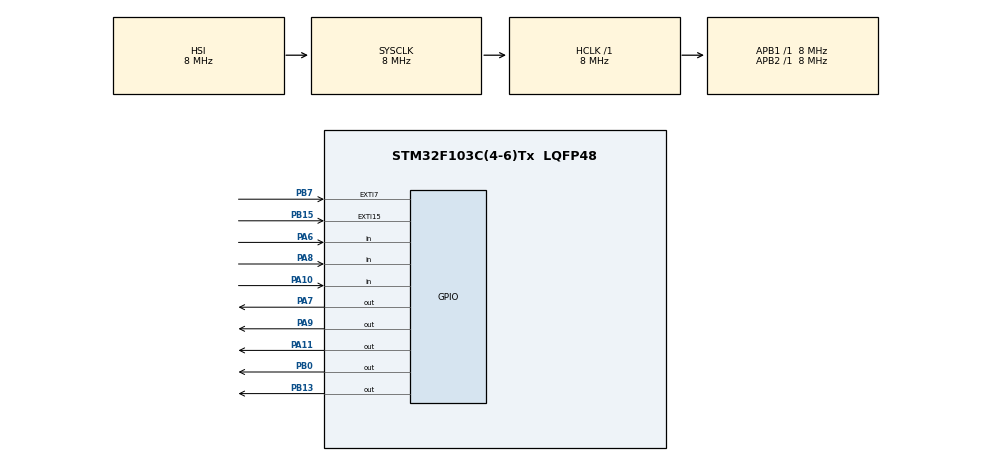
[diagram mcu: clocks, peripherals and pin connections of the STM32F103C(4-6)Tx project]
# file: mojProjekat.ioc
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Mcu.Family=STM32F1
Mcu.Name=STM32F103C(4-6)Tx
Mcu.Package=LQFP48
NVIC.PriorityGroup=NVIC_PRIORITYGROUP_4
NVIC.TIM2_IRQn=true\:0\:0\:false\:false\:true\:true\:true\:true
PA10.Signal=GPIO_Input
PA11.Signal=GPIO_Output
PA6.Signal=GPIO_Input
PA7.Signal=GPIO_Output
PA8.Signal=GPIO_Input
PA9.Signal=GPIO_Output
PB0.Signal=GPIO_Output
PB13.Signal=GPIO_Output
PB15.GPIO_ModeDefaultEXTI=GPIO_MODE_IT_FALLING
PB15.Signal=GPXTI15
PB7.Signal=GPXTI7
PD0-OSC_IN.Mode=HSE-External-Oscillator
PD0-OSC_IN.Signal=RCC_OSC_IN
PD1-OSC_OUT.Mode=HSE-External-Oscillator
PD1-OSC_OUT.Signal=RCC_OSC_OUT
ProjectManager.HeapSize=0x200
ProjectManager.StackSize=0x400
ProjectManager.TargetToolchain=STM32CubeIDE
RCC.AHBFreq_Value=8000000
RCC.APB1Freq_Value=8000000
RCC.APB1TimFreq_Value=8000000
RCC.APB2Freq_Value=8000000
RCC.APB2TimFreq_Value=8000000
RCC.HCLKFreq_Value=8000000
RCC.SYSCLKFreq_VALUE=8000000
RCC.USBFreq_Value=8000000
TIM2.Period=2500
TIM2.Prescaler=8000-1
VP_SYS_VS_ND.Mode=No_Debug
VP_TIM2_VS_ClockSourceINT.Mode=Internal
board=custom

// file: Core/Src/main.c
/* USER CODE BEGIN Header */
/**
  ******************************************************************************
  * @file           : main.c
  * @brief          : Main program body
  ******************************************************************************
  * @attention
  *
  * Copyright (c) 2024 STMicroelectronics.
  * All rights reserved.
  *
  * This software is licensed under terms that can be found in the LICENSE file
  * in the root directory of this software component.
  * If no LICENSE file comes with this software, it is provided AS-IS.
  *
  ******************************************************************************
  */
/* USER CODE END Header */
#include "main.h"
#include <string.h>
#include "stm32f1xx_hal.h"

/* USER CODE BEGIN PD */
#define LOGIC_CIRCUIT_PIN_1   GPIO_PIN_6
#define LOGIC_CIRCUIT_PORT_1  GPIOA

#define LOGIC_CIRCUIT_PIN_2   GPIO_PIN_8
#define LOGIC_CIRCUIT_PORT_2  GPIOA

#define LOGIC_CIRCUIT_PIN_3   GPIO_PIN_10
#define LOGIC_CIRCUIT_PORT_3  GPIOA

#define RED_LED_PIN_1         GPIO_PIN_7
#define RED_LED_PORT_1        GPIOA

#define YELLOW_LED_PIN        GPIO_PIN_9
#define YELLOW_LED_PORT       GPIOA

#define GREEN_LED_PIN         GPIO_PIN_11
#define GREEN_LED_PORT        GPIOA

#define MOTOR_PIN            GPIO_PIN_13
#define MOTOR_PORT           GPIOB

#define BUTTON_PIN            GPIO_PIN_7
#define BUTTON_PORT           GPIOB

/* USER CODE END PD */

/* USER CODE BEGIN PV */
uint8_t hardwareInterruptStatus = 0;
uint8_t logicCircuitsStatus = 0;
TIM_HandleTypeDef htim2;
uint8_t buttonPressedPB7 = 0;

void HAL_GPIO_EXTI_Callback(uint16_t GPIO_Pin)
{
  if (GPIO_Pin == GPIO_PIN_15)
  {
    hardwareInterruptStatus = 1;
  }
}

/* USER CODE END PV */

void SystemClock_Config(void);
static void MX_GPIO_Init(void);
static void MX_TIM2_Init(void);
void EXTI9_5_IRQHandler(void);

int main(void)
{

  /* MCU Configuration--------------------------------------------------------*/

  HAL_Init();

  /* Configure the system clock */
  SystemClock_Config();

  MX_GPIO_Init();
  MX_TIM2_Init();
  HAL_TIM_Base_Start_IT(&htim2);

  /* Infinite loop */
  while (1)
  {
	  if (buttonPressedPB7)
	     {

	        for (int i = 0; i < 3; ++i)
	        {
	        	for (int j = 0; j < 3; ++j)
	        	{
	        		HAL_Delay(25);

	        		HAL_GPIO_WritePin(RED_LED_PORT_1, RED_LED_PIN_1, GPIO_PIN_RESET);
	        		HAL_GPIO_WritePin(YELLOW_LED_PORT, YELLOW_LED_PIN, GPIO_PIN_RESET);
	        		HAL_GPIO_WritePin(GREEN_LED_PORT, GREEN_LED_PIN, GPIO_PIN_RESET);
	        		HAL_Delay(50);

	        		HAL_GPIO_WritePin(RED_LED_PORT_1, RED_LED_PIN_1, GPIO_PIN_SET);
	        		HAL_GPIO_WritePin(YELLOW_LED_PORT, YELLOW_LED_PIN, GPIO_PIN_SET);
	        		HAL_GPIO_WritePin(GREEN_LED_PORT, GREEN_LED_PIN, GPIO_PIN_SET);
	        		if (i < 2)
	        		{
	          	       HAL_Delay(25);
	          	    }

	        	}
	        	if (i < 2)
	        	{
	                HAL_Delay(200);
	            }
	        }
	       buttonPressedPB7 = 0;
	    }
	  if (hardwareInterruptStatus == 1)
	  {
	  	      HAL_GPIO_WritePin(RED_LED_PORT_1, RED_LED_PIN_1, GPIO_PIN_RESET);
	  	      HAL_GPIO_WritePin(YELLOW_LED_PORT, YELLOW_LED_PIN, GPIO_PIN_RESET);
	  	      HAL_GPIO_WritePin(GREEN_LED_PORT, GREEN_LED_PIN, GPIO_PIN_RESET);

	  	      HAL_Delay(600);

	  	      HAL_GPIO_WritePin(RED_LED_PORT_1, RED_LED_PIN_1, GPIO_PIN_SET);
	  	      HAL_GPIO_WritePin(YELLOW_LED_PORT, YELLOW_LED_PIN, GPIO_PIN_SET);
	  	      HAL_GPIO_WritePin(GREEN_LED_PORT, GREEN_LED_PIN, GPIO_PIN_SET);

	  	      hardwareInterruptStatus = 0;
	  }
	      if (HAL_GPIO_ReadPin(LOGIC_CIRCUIT_PORT_1, LOGIC_CIRCUIT_PIN_1) == GPIO_PIN_SET &&
	          HAL_GPIO_ReadPin(LOGIC_CIRCUIT_PORT_2, LOGIC_CIRCUIT_PIN_2) == GPIO_PIN_SET &&
	          HAL_GPIO_ReadPin(LOGIC_CIRCUIT_PORT_3, LOGIC_CIRCUIT_PIN_3) == GPIO_PIN_SET)
	      {
	        HAL_GPIO_WritePin(MOTOR_PORT, MOTOR_PIN, GPIO_PIN_SET);
	        logicCircuitsStatus = 1;
	      }
	      else
	      {
	        if (logicCircuitsStatus == 0)
	        {
	          HAL_GPIO_WritePin(MOTOR_PORT, MOTOR_PIN, GPIO_PIN_RESET);
	        }
	        logicCircuitsStatus = 0;
	      }

	      if (HAL_GPIO_ReadPin(LOGIC_CIRCUIT_PORT_1, LOGIC_CIRCUIT_PIN_1) == GPIO_PIN_SET)
	      {
	        HAL_GPIO_WritePin(RED_LED_PORT_1, RED_LED_PIN_1, GPIO_PIN_RESET);
	      }
	      else
	      {
	        HAL_GPIO_WritePin(RED_LED_PORT_1, RED_LED_PIN_1, GPIO_PIN_SET);
	      }

	      if (HAL_GPIO_ReadPin(LOGIC_CIRCUIT_PORT_2, LOGIC_CIRCUIT_PIN_2) == GPIO_PIN_SET)
	      {
	        HAL_GPIO_WritePin(YELLOW_LED_PORT, YELLOW_LED_PIN, GPIO_PIN_RESET);
	      }
	      else
	      {
	        HAL_GPIO_WritePin(YELLOW_LED_PORT, YELLOW_LED_PIN, GPIO_PIN_SET);
	      }

	      if (HAL_GPIO_ReadPin(LOGIC_CIRCUIT_PORT_3, LOGIC_CIRCUIT_PIN_3) == GPIO_PIN_SET)
	      {
	        HAL_GPIO_WritePin(GREEN_LED_PORT, GREEN_LED_PIN, GPIO_PIN_RESET);
	      }
	      else
	      {
	        HAL_GPIO_WritePin(GREEN_LED_PORT, GREEN_LED_PIN, GPIO_PIN_SET);
	      }

	      HAL_Delay(0);
  }
}

void SystemClock_Config(void)
{
  RCC_OscInitTypeDef RCC_OscInitStruct = {0};
  RCC_ClkInitTypeDef RCC_ClkInitStruct = {0};

  /** Initializes the RCC Oscillators according to the specified parameters
  * in the RCC_OscInitTypeDef structure.
  */
  RCC_OscInitStruct.OscillatorType = RCC_OSCILLATORTYPE_HSI;
  RCC_OscInitStruct.HSIState = RCC_HSI_ON;
  RCC_OscInitStruct.HSICalibrationValue = RCC_HSICALIBRATION_DEFAULT;
  RCC_OscInitStruct.PLL.PLLState = RCC_PLL_NONE;
  if (HAL_RCC_OscConfig(&RCC_OscInitStruct) != HAL_OK)
  {
    Error_Handler();
  }

  /** Initializes the CPU, AHB and APB buses clocks
  */
  RCC_ClkInitStruct.ClockType = RCC_CLOCKTYPE_HCLK|RCC_CLOCKTYPE_SYSCLK
                              |RCC_CLOCKTYPE_PCLK1|RCC_CLOCKTYPE_PCLK2;
  RCC_ClkInitStruct.SYSCLKSource = RCC_SYSCLKSOURCE_HSI;
  RCC_ClkInitStruct.AHBCLKDivider = RCC_SYSCLK_DIV1;
  RCC_ClkInitStruct.APB1CLKDivider = RCC_HCLK_DIV1;
  RCC_ClkInitStruct.APB2CLKDivider = RCC_HCLK_DIV1;

  if (HAL_RCC_ClockConfig(&RCC_ClkInitStruct, FLASH_LATENCY_0) != HAL_OK)
  {
    Error_Handler();
  }
}

static void MX_TIM2_Init(void)
{

  TIM_ClockConfigTypeDef sClockSourceConfig = {0};
  TIM_MasterConfigTypeDef sMasterConfig = {0};

  htim2.Instance = TIM2;
  htim2.Init.Prescaler = 8000-1;
  htim2.Init.CounterMode = TIM_COUNTERMODE_UP;
  htim2.Init.Period = 2500;
  htim2.Init.ClockDivision = TIM_CLOCKDIVISION_DIV1;
  htim2.Init.AutoReloadPreload = TIM_AUTORELOAD_PRELOAD_DISABLE;
  if (HAL_TIM_Base_Init(&htim2) != HAL_OK)
  {
    Error_Handler();
  }
  sClockSourceConfig.ClockSource = TIM_CLOCKSOURCE_INTERNAL;
  if (HAL_TIM_ConfigClockSource(&htim2, &sClockSourceConfig) != HAL_OK)
  {
    Error_Handler();
  }
  sMasterConfig.MasterOutputTrigger = TIM_TRGO_RESET;
  sMasterConfig.MasterSlaveMode = TIM_MASTERSLAVEMODE_DISABLE;
  if (HAL_TIMEx_MasterConfigSynchronization(&htim2, &sMasterConfig) != HAL_OK)
  {
    Error_Handler();
  }

}

static void MX_GPIO_Init(void)
{
  GPIO_InitTypeDef GPIO_InitStruct = {0};

  /* GPIO Ports Clock Enable */
  __HAL_RCC_GPIOD_CLK_ENABLE();
  __HAL_RCC_GPIOA_CLK_ENABLE();
  __HAL_RCC_GPIOB_CLK_ENABLE();
  __HAL_RCC_GPIOC_CLK_ENABLE();

  GPIO_InitStruct.Pin = LOGIC_CIRCUIT_PIN_1;
  GPIO_InitStruct.Mode = GPIO_MODE_INPUT;
  GPIO_InitStruct.Speed = GPIO_SPEED_FREQ_LOW;
  HAL_GPIO_Init(LOGIC_CIRCUIT_PORT_1, &GPIO_InitStruct);

  GPIO_InitStruct.Pin = RED_LED_PIN_1;
  GPIO_InitStruct.Mode = GPIO_MODE_OUTPUT_PP;
  GPIO_InitStruct.Pull = GPIO_NOPULL;
  GPIO_InitStruct.Speed = GPIO_SPEED_FREQ_LOW;
  HAL_GPIO_Init(RED_LED_PORT_1, &GPIO_InitStruct);

  GPIO_InitStruct.Pin = LOGIC_CIRCUIT_PIN_2;
  GPIO_InitStruct.Mode = GPIO_MODE_INPUT;
  GPIO_InitStruct.Pull = GPIO_NOPULL;
  GPIO_InitStruct.Speed = GPIO_SPEED_FREQ_LOW;
  HAL_GPIO_Init(LOGIC_CIRCUIT_PORT_2, &GPIO_InitStruct);

  GPIO_InitStruct.Pin = GREEN_LED_PIN;
  GPIO_InitStruct.Mode = GPIO_MODE_OUTPUT_PP;
  GPIO_InitStruct.Pull = GPIO_NOPULL;
  GPIO_InitStruct.Speed = GPIO_SPEED_FREQ_LOW;
  HAL_GPIO_Init(GREEN_LED_PORT, &GPIO_InitStruct);

  GPIO_InitStruct.Pin = LOGIC_CIRCUIT_PIN_3;
  GPIO_InitStruct.Mode = GPIO_MODE_INPUT;
  GPIO_InitStruct.Pull = GPIO_NOPULL;
  GPIO_InitStruct.Speed = GPIO_SPEED_FREQ_LOW;
  HAL_GPIO_Init(LOGIC_CIRCUIT_PORT_3, &GPIO_InitStruct);

  GPIO_InitStruct.Pin = YELLOW_LED_PIN;
  GPIO_InitStruct.Mode = GPIO_MODE_OUTPUT_PP;
  GPIO_InitStruct.Pull = GPIO_NOPULL;
  GPIO_InitStruct.Speed = GPIO_SPEED_FREQ_LOW;
  HAL_GPIO_Init(YELLOW_LED_PORT, &GPIO_InitStruct);

  GPIO_InitStruct.Pin = MOTOR_PIN;
  GPIO_InitStruct.Mode = GPIO_MODE_OUTPUT_PP;
  GPIO_InitStruct.Pull = GPIO_NOPULL;
  GPIO_InitStruct.Speed = GPIO_SPEED_FREQ_LOW;
  HAL_GPIO_Init(MOTOR_PORT, &GPIO_InitStruct);

  HAL_GPIO_WritePin(GPIOB, GPIO_PIN_0, GPIO_PIN_RESET);
  GPIO_InitStruct.Pin = GPIO_PIN_0;
  GPIO_InitStruct.Mode = GPIO_MODE_OUTPUT_PP;
  GPIO_InitStruct.Pull = GPIO_NOPULL;
  GPIO_InitStruct.Speed = GPIO_SPEED_FREQ_LOW;
  HAL_GPIO_Init(GPIOB, &GPIO_InitStruct);

  GPIO_InitStruct.Pin = GPIO_PIN_15;
  GPIO_InitStruct.Mode = GPIO_MODE_IT_FALLING;
  GPIO_InitStruct.Pull = GPIO_PULLUP;
  HAL_GPIO_Init(GPIOB, &GPIO_InitStruct);

  HAL_NVIC_SetPriority(EXTI15_10_IRQn, 0, 0);
  HAL_NVIC_EnableIRQ(EXTI15_10_IRQn);

  GPIO_InitStruct.Pin = GPIO_PIN_7;
  GPIO_InitStruct.Mode = GPIO_MODE_IT_FALLING;
  GPIO_InitStruct.Pull = GPIO_PULLUP;
  HAL_GPIO_Init(GPIOB, &GPIO_InitStruct);

  HAL_NVIC_SetPriority(EXTI9_5_IRQn, 0, 0);
  HAL_NVIC_EnableIRQ(EXTI9_5_IRQn);

}

/* USER CODE BEGIN 4 */
void EXTI9_5_IRQHandler(void)
{
  if (HAL_GPIO_ReadPin(BUTTON_PORT, BUTTON_PIN) == GPIO_PIN_RESET)
  {
    buttonPressedPB7 = 1;
  }
  HAL_GPIO_EXTI_IRQHandler(BUTTON_PIN);
}

/* USER CODE END 4 */

void Error_Handler(void)
{
  /* USER CODE BEGIN Error_Handler_Debug */
  /* User can add his own implementation to report the HAL error return state */
  __disable_irq();
  while (1)
  {
    // Handle error
  }
  /* USER CODE END Error_Handler_Debug */
}
void EXTI15_10_IRQHandler(void)
{
  HAL_GPIO_EXTI_IRQHandler(GPIO_PIN_15);
}
